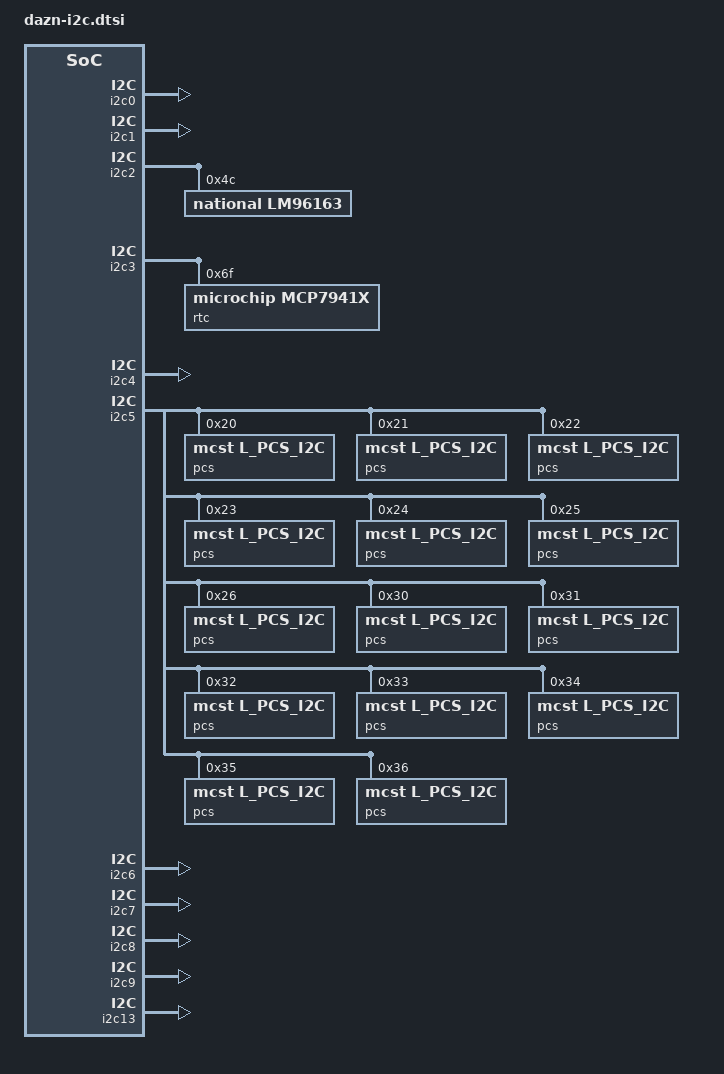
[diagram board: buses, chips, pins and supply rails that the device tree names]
&i2c0 {
	status = "okay";
};

&i2c1 {
	status = "okay";
};

&i2c2 {
	/* i2c_pmbus */
	status = "okay";
	
	lm96163@4c {
		compatible = "national,lm96163";
		reg = <0x4c>;
	};	

};

&i2c3 {
	/* i2c_fruid */
	status = "okay";

	rtc@6f {
		compatible = "microchip,mcp7941x";
		reg = <0x6f>;
		interrupts = <110>;
	};
};

&i2c4 {
	/* i2c_cpu1 */
	status = "okay";
};

&i2c5 {
	/* i2c_mntr */
	status = "okay";

        pcs@20 {
		compatible = "mcst,l_pcs_i2c";
		reg = <0x20>;
	};	
        pcs@21 {
		compatible = "mcst,l_pcs_i2c";
		reg = <0x21>;
	};	
        pcs@22 {
		compatible = "mcst,l_pcs_i2c";
		reg = <0x22>;
	};	
        pcs@23 {
		compatible = "mcst,l_pcs_i2c";
		reg = <0x23>;
	};	
        pcs@24 {
		compatible = "mcst,l_pcs_i2c";
		reg = <0x24>;
	};	
        pcs@25 {
		compatible = "mcst,l_pcs_i2c";
		reg = <0x25>;
	};	
        pcs@26 {
		compatible = "mcst,l_pcs_i2c";
		reg = <0x26>;
	};	
	
        pcs@30 {
		compatible = "mcst,l_pcs_i2c";
		reg = <0x30>;
	};	
        pcs@31 {
		compatible = "mcst,l_pcs_i2c";
		reg = <0x31>;
	};	
        pcs@32 {
		compatible = "mcst,l_pcs_i2c";
		reg = <0x32>;
	};	
        pcs@33 {
		compatible = "mcst,l_pcs_i2c";
		reg = <0x33>;
	};	
        pcs@34 {
		compatible = "mcst,l_pcs_i2c";
		reg = <0x34>;
	};	
        pcs@35 {
		compatible = "mcst,l_pcs_i2c";
		reg = <0x35>;
	};	
        pcs@36 {
		compatible = "mcst,l_pcs_i2c";
		reg = <0x36>;
	};	
};

&i2c6 {
	/* i2c_cpu0 */
	status = "okay";
};

&i2c7 {
	/* i2c_pci */
	status = "okay";
};

&i2c8 {
	status = "okay";
};

&i2c9 {
	status = "okay";
};

&i2c13 {
	status = "okay";
};
